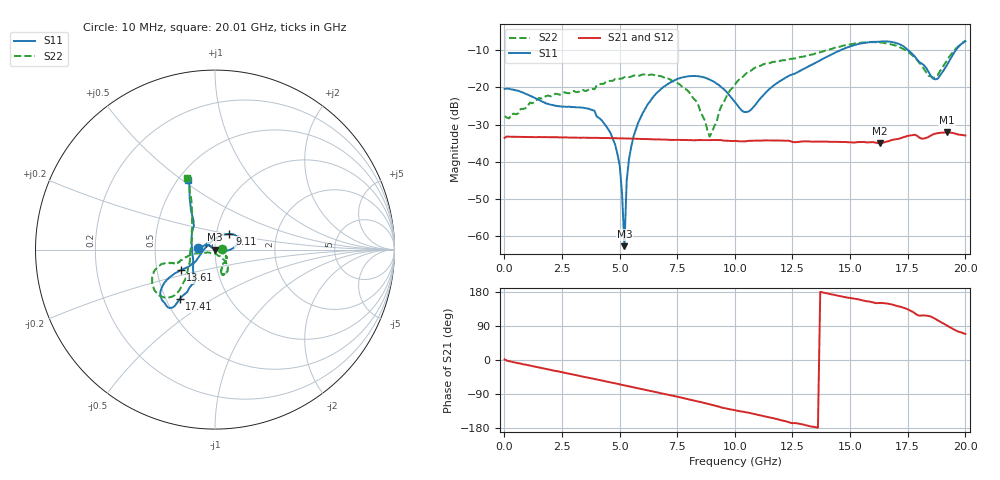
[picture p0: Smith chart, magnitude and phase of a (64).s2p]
! Hittite Microwave Corporation
! 2 Elizabeth Drive
! Chelmsford, MA 01824
! http://www.hittite.com
! Tel: 978-250-3343
! Fax: 978-250-3373
! Device:  HMC424LP3
! Description: 0.5 dB GaAs MMIC 6-Bit Digital Attenuator
! Frequency:  DC -  13.00 GHz
! Package:  LP3  - 3x3 mm Quad Flatpack No-Lead (QFN) Plastic Package: 16 pin
! Ports:  2 RF, 7 DC
!  Pad  1  = Ground
!  Pad  2  = RF IN  =  Port 1
!  Pad  3  = Ground
!  Pad  4  = V6
!  Pad  5  = V5
!  Pad  6  = V4
!  Pad  7  = V3
!  Pad  8  = V2
!  Pad  9  = V1
!  Pad 10  = Ground
!  Pad 11  = RF OUT  = Port 2
!  Pad 12  = Ground
!  Pad 15  = VEE
! Control:  -5 Volt control voltage
! State:  62
! Attenuation:  31.0 dB
! Voltages:  Vdd = -5.00 Volts  Idd =  -2.639 mA
!  V1  = 0.00 Volts  I1  =  29.0 uA
!  V2  = -5.00 Volts  I2  =  -1.0 uA
!  V3  = -5.00 Volts  I3  =  -1.0 uA
!  V4  = -5.00 Volts  I4  =  -1.0 uA
!  V5  = -5.00 Volts  I5  =  -1.0 uA
!  V6  = -5.00 Volts  I6  =  -1.0 uA
! Data:  The device was measured on evaluation board 105354-1.
!  Data was collected using a calibrated network analyzer.
!  The evaluation circuit board was modeled and simulated.  This was use
!  to removed the evaluation board circuit from the measured data.
!  The reference plane is the edge of the package pin.
! Misc:  Lot xxxx, Unit 1
!  Application 20120001, Data collected in Application 20090083
! Date Measured:  2009-09-15
! Date:  2012-05-14  MJV
! Note:
!  Hittite supplies this data as a sample of measured data at the package pin
!  for this product.  Your particular data for this product may vary.
!  Data was taken at 25 degrees C.
!  Hittite reserves the right to change this data at anytime.
# GHz S MA R 50
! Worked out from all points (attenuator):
!   201 points, 10 MHz to 20.01 GHz, reference 50 ohm
!   highest |S21| = -32.06 dB at 19.21 GHz (marker M1); lowest = -35.0 dB at 16.31 GHz (marker M2)
!   lowest |S11| = -62.6 dB at 5.21 GHz (marker M3), VSWR 1.00, Z = 50.1 + j0.023 ohm
!   |S11| at or under -10 dB: start of sweep to 14.59 GHz; 17.52 GHz to 19.59 GHz (2.076 GHz wide, 11.2 % of centre)
!   |S22| runs from -33.2 to -7.4 dB; largest |S21 - S12| = 0.0021
!   S11 on the Smith chart (normalised r, x): 10 MHz: 0.83, +0.02; 9.11 GHz: 1.15, +0.20; 13.61 GHz: 0.66, -0.16; 17.41 GHz: 0.59, -0.37; 20.01 GHz: 0.56, +0.52
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0.01  0.09531 174.5  0.02106 1.8  0.02205 -3.1  0.04101 7.7
3.41  0.05337 134.4  0.02117 -43.8  0.02111 -43.8  0.09254 -54.2
4.81  0.01696 149.5  0.0208 -61.7  0.02083 -61.7  0.1298 -75.1
5.01  0.008777 150.9  0.02074 -64.2  0.02071 -64.3  0.1307 -74.0
5.11  0.003659 152.3  0.0207 -65.4  0.02067 -65.6  0.1317 -75.0
5.21  0.000741 18.1  0.02074 -67.0  0.02069 -67.0  0.1377 -75.4
5.31  0.005664 -20.4  0.02069 -68.2  0.02069 -68.4  0.1385 -73.3
5.51  0.01626 -19.2  0.02056 -70.9  0.02054 -71.0  0.1396 -74.7
6.71  0.08969 1.2  0.0201 -86.4  0.02 -86.5  0.1429 -63.3
8.01  0.1416 24.3  0.0196 -104.1  0.01961 -104.0  0.08719 -47.8
8.91  0.1271 42.7  0.01962 -116.8  0.01958 -116.7  0.02189 -101.4
9.11  0.1186 47.5  0.01969 -119.9  0.01962 -119.9  0.03009 -137.5
10.01  0.06345 85.2  0.01913 -132.6  0.01904 -132.6  0.1097 -168.9
10.61  0.04773 148.4  0.0192 -139.2  0.0191 -139.1  0.1627 -165.3
13.41  0.2061 -148.4  0.01867 -176.2  0.01864 -176.4  0.2783 -164.6
13.61  0.2222 -148.8  0.01875 -178.7  0.0187 -178.7  0.2918 -164.8
16.31  0.4123 -131.6  0.01785 150.6  0.01781 150.5  0.4019 -140.1
16.71  0.4117 -127.8  0.01914 147.8  0.0191 148.1  0.3842 -135.6
17.41  0.3391 -125.5  0.02187 136.1  0.02181 136.2  0.3163 -131.1
18.61  0.1313 -159.3  0.02346 111.7  0.02339 111.8  0.1344 175.5
19.21  0.1998 126.8  0.02495 91.0  0.0249 91.2  0.2294 123.5
20.01  0.4163 111.5  0.02269 68.9  0.02267 69.3  0.4264 111.6
